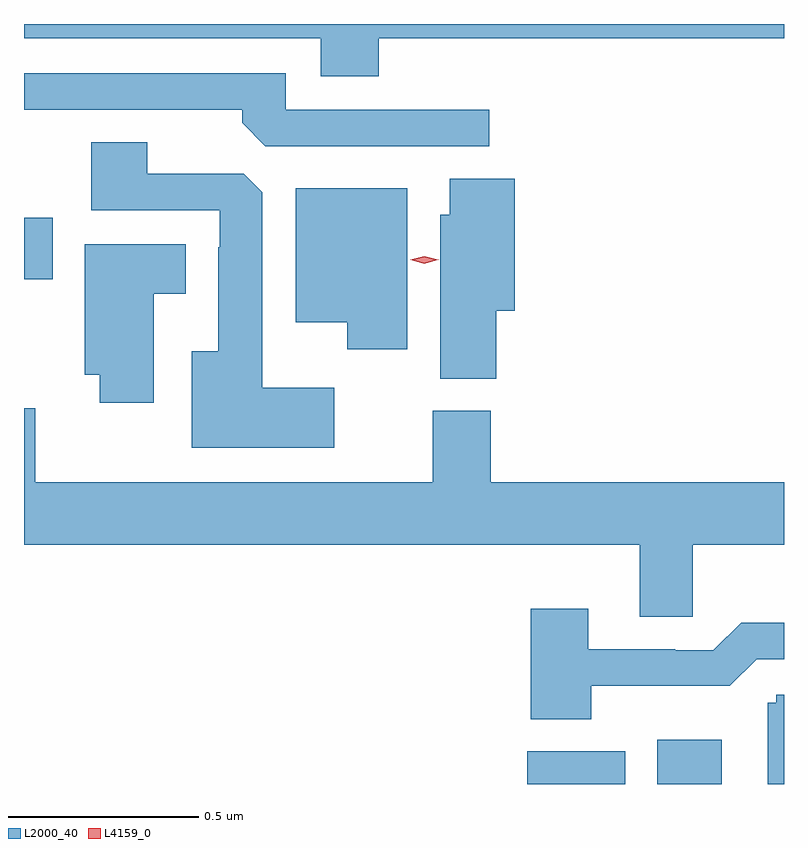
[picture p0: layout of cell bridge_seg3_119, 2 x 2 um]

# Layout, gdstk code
import gdstk
lib = gdstk.Library(unit=1e-6, precision=1e-09)
def R(c, l, rs):  # rectangles x0, y0, x1, y1
    for r in rs: c.add(gdstk.rectangle(r[:2], r[2:], *l))
def P(c, l, *ps):  # polygons
    for p in ps: c.add(gdstk.Polygon(p, *l))
L2000_40 = (2000, 40)
L4159_0 = (4159, 0)

bridge_seg3_119 = lib.new_cell('bridge_seg3_119')
R(bridge_seg3_119, L2000_40, [(338.072,742.91,338.33,742.996), (338.415,742.91,338.584,743.026), (336.748,744.238,336.823,744.4)])
P(bridge_seg3_119, L2000_40, [(337.682,744.872),(338.748,744.872),(338.748,744.91),(336.748,744.91),(336.748,744.872),(337.529,744.872),(337.529,744.773),(337.682,744.773)],
  [(337.972,744.684),(337.437,744.684),(337.437,744.78),(336.748,744.78),(336.748,744.684),(337.322,744.684),(337.322,744.65),(337.383,744.588),(337.972,744.588)],
  [(337.564,743.953),(337.375,743.953),(337.375,744.467),(337.326,744.516),(337.072,744.516),(337.072,744.599),(336.925,744.599),(336.925,744.42),(337.263,744.42),(337.263,744.323),(337.259,744.323),(337.259,744.049),(337.19,744.049),(337.19,743.795),(337.564,743.795)],
  [(337.991,744.155),(338.039,744.155),(338.039,744.503),(337.868,744.503),(337.868,744.408),(337.844,744.408),(337.844,743.977),(337.991,743.977)],
  [(337.756,744.478),(337.463,744.478),(337.463,744.125),(337.598,744.125),(337.598,744.054),(337.756,744.054)],
  [(337.09,744.2),(337.174,744.2),(337.174,744.331),(336.908,744.331),(336.908,743.987),(336.947,743.987),(336.947,743.913),(337.09,743.913)],
  [(338.508,743.54),(338.748,743.54),(338.748,743.704),(337.976,743.704),(337.976,743.892),(337.823,743.892),(337.823,743.704),(336.778,743.704),(336.778,743.899),(336.748,743.899),(336.748,743.54),(338.369,743.54),(338.369,743.35),(338.508,743.35)],
  [(338.241,743.168),(338.605,743.168),(338.676,743.238),(338.748,743.238),(338.748,743.335),(338.635,743.335),(338.562,743.262),(338.462,743.262),(338.462,743.265),(338.233,743.265),(338.233,743.371),(338.081,743.371),(338.081,743.081),(338.241,743.081)],
  [(338.748,743.145),(338.727,743.145),(338.727,743.124),(338.705,743.124),(338.705,742.91),(338.748,742.91)])
P(bridge_seg3_119, L4159_0, [(337.801,744.279),(337.764,744.289),(337.763,744.289),(337.764,744.29),(337.801,744.299),(337.838,744.29),(337.839,744.29),(337.838,744.289)])

lib.write_gds('bridge_seg3_119.gds')
